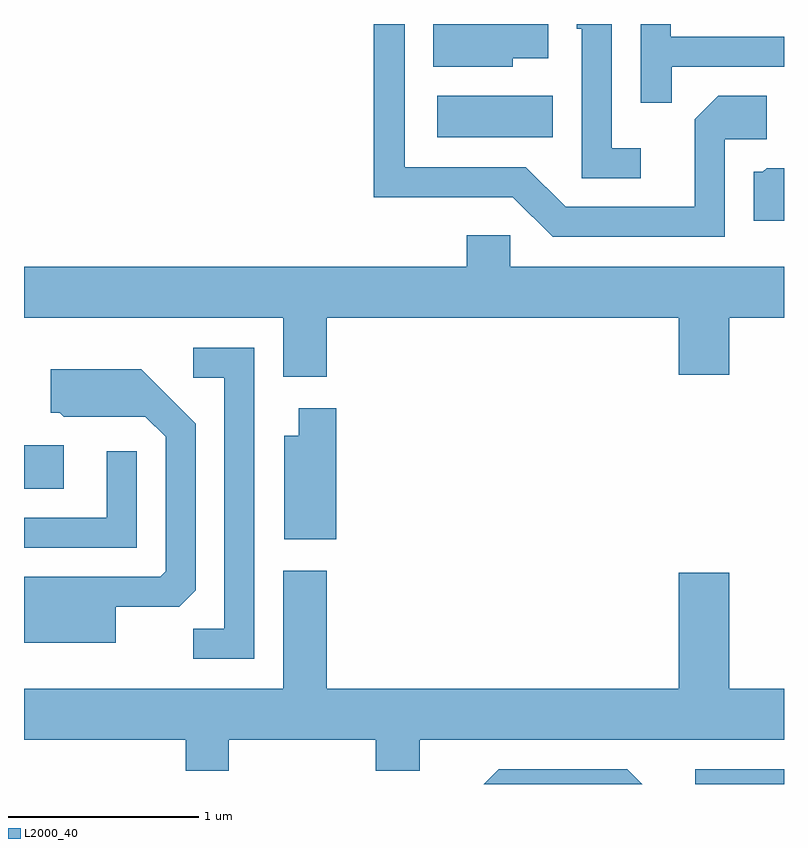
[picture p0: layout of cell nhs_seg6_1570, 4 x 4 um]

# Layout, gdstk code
import gdstk
lib = gdstk.Library(unit=1e-6, precision=1e-09)
def R(c, l, rs):  # rectangles x0, y0, x1, y1
    for r in rs: c.add(gdstk.rectangle(r[:2], r[2:], *l))
def P(c, l, *ps):  # polygons
    for p in ps: c.add(gdstk.Polygon(p, *l))
L2000_40 = (2000, 40)

nhs_seg6_1570 = lib.new_cell('nhs_seg6_1570')
R(nhs_seg6_1570, L2000_40, [(235.143,1634.162,235.611,1634.239), (231.611,1635.716,231.819,1635.944), (233.786,1637.566,234.394,1637.784)])
P(nhs_seg6_1570, L2000_40, [(235.019,1637.936),(235.611,1637.936),(235.611,1638.094),(235.014,1638.094),(235.014,1638.162),(234.856,1638.162),(234.856,1637.748),(235.019,1637.748)],
  [(235.299,1637.556),(235.519,1637.556),(235.519,1637.784),(235.264,1637.784),(235.141,1637.662),(235.141,1637.199),(234.462,1637.199),(234.252,1637.409),(233.614,1637.409),(233.614,1638.162),(233.451,1638.162),(233.451,1637.251),(234.184,1637.251),(234.394,1637.041),(235.299,1637.041)],
  [(234.858,1637.509),(234.704,1637.509),(234.704,1638.162),(234.521,1638.162),(234.521,1638.136),(234.546,1638.136),(234.546,1637.351),(234.858,1637.351)],
  [(234.184,1637.981),(234.369,1637.981),(234.369,1638.162),(233.766,1638.162),(233.766,1637.936),(234.184,1637.936)],
  [(235.611,1637.404),(235.519,1637.404),(235.499,1637.384),(235.451,1637.384),(235.451,1637.126),(235.611,1637.126)],
  [(233.204,1636.616),(235.056,1636.616),(235.056,1636.316),(235.324,1636.316),(235.324,1636.616),(235.611,1636.616),(235.611,1636.884),(234.169,1636.884),(234.169,1637.049),(233.941,1637.049),(233.941,1636.884),(231.611,1636.884),(231.611,1636.616),(232.976,1636.616),(232.976,1636.306),(233.204,1636.306)],
  [(232.824,1636.459),(232.503,1636.459),(232.503,1636.301),(232.666,1636.301),(232.666,1634.979),(232.503,1634.979),(232.503,1634.821),(232.824,1634.821)],
  [(232.094,1635.096),(232.429,1635.096),(232.514,1635.182),(232.514,1636.057),(232.227,1636.344),(231.751,1636.344),(231.751,1636.116),(231.799,1636.116),(231.819,1636.096),(232.249,1636.096),(232.356,1635.989),(232.356,1635.282),(232.329,1635.254),(231.611,1635.254),(231.611,1634.906),(232.094,1634.906)],
  [(233.254,1636.139),(233.056,1636.139),(233.056,1635.994),(232.981,1635.994),(232.981,1635.451),(233.254,1635.451)],
  [(232.204,1635.913),(232.046,1635.913),(232.046,1635.564),(231.611,1635.564),(231.611,1635.406),(232.204,1635.406)],
  [(232.689,1634.396),(233.461,1634.396),(233.461,1634.231),(233.694,1634.231),(233.694,1634.396),(235.611,1634.396),(235.611,1634.664),(235.324,1634.664),(235.324,1635.274),(235.056,1635.274),(235.056,1634.664),(233.204,1634.664),(233.204,1635.284),(232.976,1635.284),(232.976,1634.664),(231.611,1634.664),(231.611,1634.396),(232.461,1634.396),(232.461,1634.231),(232.689,1634.231)],
  [(234.787,1634.239),(234.109,1634.239),(234.032,1634.162),(234.864,1634.162)])

lib.write_gds('nhs_seg6_1570.gds')
